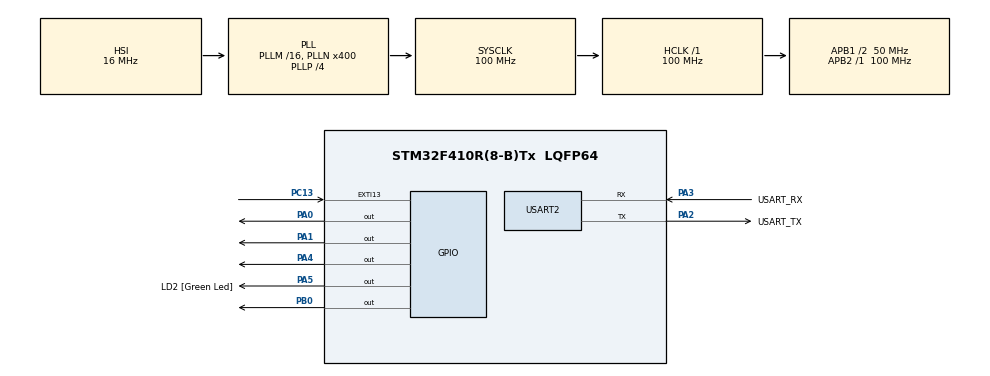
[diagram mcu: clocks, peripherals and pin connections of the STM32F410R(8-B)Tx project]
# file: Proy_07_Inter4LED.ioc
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Mcu.Family=STM32F4
Mcu.Name=STM32F410R(8-B)Tx
Mcu.Package=LQFP64
NVIC.EXTI15_10_IRQn=true\:0\:0\:false\:false\:true\:true\:true\:true
NVIC.PriorityGroup=NVIC_PRIORITYGROUP_0
PA0-WKUP.Signal=GPIO_Output
PA1.Signal=GPIO_Output
PA13.GPIO_Label=TMS
PA13.Mode=Serial_Wire
PA13.Signal=SYS_JTMS-SWDIO
PA14.GPIO_Label=TCK
PA14.Mode=Serial_Wire
PA14.Signal=SYS_JTCK-SWCLK
PA2.GPIO_Label=USART_TX
PA2.Mode=Asynchronous
PA2.Signal=USART2_TX
PA3.GPIO_Label=USART_RX
PA3.Mode=Asynchronous
PA3.Signal=USART2_RX
PA4.Signal=GPIO_Output
PA5.GPIO_Label=LD2 [Green Led]
PA5.Signal=GPIO_Output
PB0.Signal=GPIO_Output
PB3.GPIO_Label=SWO
PB3.Signal=SYS_JTDO-SWO
PC13-ANTI_TAMP.GPIO_ModeDefaultEXTI=GPIO_MODE_IT_FALLING
PC13-ANTI_TAMP.Signal=GPXTI13
PC14-OSC32_IN.Mode=LSE-External-Oscillator
PC14-OSC32_IN.Signal=RCC_OSC32_IN
PC15-OSC32_OUT.Mode=LSE-External-Oscillator
PC15-OSC32_OUT.Signal=RCC_OSC32_OUT
PH0\ -\ OSC_IN.Mode=HSE-External-Clock-Source
PH0\ -\ OSC_IN.Signal=RCC_OSC_IN
PH1\ -\ OSC_OUT.Mode=HSE-External-Clock-Source
PH1\ -\ OSC_OUT.Signal=RCC_OSC_OUT
ProjectManager.HeapSize=0x200
ProjectManager.StackSize=0x400
ProjectManager.TargetToolchain=STM32CubeIDE
RCC.48MHZClocksFreq_Value=100000000
RCC.AHBFreq_Value=100000000
RCC.APB1CLKDivider=RCC_HCLK_DIV2
RCC.APB1Freq_Value=50000000
RCC.APB1TimFreq_Value=100000000
RCC.APB2Freq_Value=100000000
RCC.APB2TimFreq_Value=100000000
RCC.CortexFreq_Value=100000000
RCC.FLatency-AdvancedSettings=FLASH_LATENCY_3
RCC.HCLKFreq_Value=100000000
RCC.HSE_VALUE=8000000
RCC.HSI_VALUE=16000000
RCC.PLLN=400
RCC.PLLP=RCC_PLLP_DIV4
RCC.SYSCLKFreq_VALUE=100000000
RCC.SYSCLKSource=RCC_SYSCLKSOURCE_PLLCLK
RCC.VCOOutputFreq_Value=400000000
USART2.VirtualMode=VM_ASYNC
board=NUCLEO-F410RB

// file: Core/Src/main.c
/* USER CODE BEGIN Header */
/**
  Practica 7 - Interrupcion externa a 4 leds

  Equipo:
  Antonio Yañez Hernandez
  Cristopher Rodrigues Perez
  Jesus Roberto Hernandez Benitez

  Pines Usados para Configurar:
  PIN_A0, PIN_A1, PIN_A4, PC13-EXIT13 Y PIN_B0

  Descripcion:
  Controla una secuencia de luces LED que van encendiendo y apagando en diferentes patrones
  o ritmos. Cada vez que presiono cierto botón, el sistema detecta esa pulsación mediante una
  interrupción y cambia a la siguiente rutina de luces
  ******************************************************************************
  */
/* USER CODE END Header */
#include "main.h"

UART_HandleTypeDef huart2;

void SystemClock_Config(void);
static void MX_GPIO_Init(void);
static void MX_USART2_UART_Init(void);

/* USER CODE BEGIN 0 */

uint16_t contInt;/*Para el conteo de interrupciones*/
uint16_t retardo; /*variable para los retardos*/
uint8_t funcion;  /*variable que controla la funcion actual*/
uint8_t i;     /*variable para for*/
uint16_t contadorCiclos;

/*Funciones para secuencia de leds*/
static const uint8_t estado0[4][4]={
		{1, 0, 0, 0},
		{0, 1, 0, 0},
		{0, 0, 1, 0},
		{0, 0, 0, 1},
};

static const uint8_t estado1[4][4]={
		{1, 0, 0, 0},
		{0, 0, 0, 1},
		{0, 0, 1, 0},
		{0, 1, 0, 0},
};

static const uint8_t estado2[8][4]={
		{1, 0, 0, 0},
		{1, 1, 0, 0},
		{0, 1, 0, 0},
		{0, 1, 1, 0},
		{0, 0, 1, 0},
		{0, 0, 1, 1},
		{0, 0, 0, 1},
};

static const uint8_t estado3[8][4]={
		{1, 0, 0, 0},
		{1, 0, 0, 1},
		{0, 0, 0, 1},
		{0, 0, 1, 1},
		{0, 0, 1, 0},
		{0, 1, 1, 0},
		{0, 1, 0, 0},
		{1, 1, 0, 0},
};

/* USER CODE END 0 */

int main(void)
{

  /* USER CODE BEGIN 1 */

	contInt =0;
	retardo =200;
	funcion=0;
	i=0;
	contadorCiclos=0;

  /* USER CODE END 1 */

  /* MCU Configuration--------------------------------------------------------*/

  /* Reset of all peripherals, Initializes the Flash interface and the Systick. */
  HAL_Init();

  /* Configure the system clock */
  SystemClock_Config();

  /* Initialize all configured peripherals */
  MX_GPIO_Init();
  MX_USART2_UART_Init();

  /* Infinite loop */
  /* USER CODE BEGIN WHILE */
  while (1)
  {

	  switch(funcion)
	  	  {
	  	  case 0:
	  		  for(i=0; i<4; i++)
	  		  {
	  			  HAL_GPIO_WritePin(GPIOA, GPIO_PIN_0, estado0[i][0]);
	  			  HAL_GPIO_WritePin(GPIOA, GPIO_PIN_1, estado0[i][1]);
	  			  HAL_GPIO_WritePin(GPIOA, GPIO_PIN_4, estado0[i][2]);
	  			  HAL_GPIO_WritePin(GPIOB, GPIO_PIN_0, estado0[i][3]);
	  			  HAL_Delay(retardo);
	  			  contadorCiclos++;
	  		  }
	  		  break;
	  	  case 1:
	  		  for(i=0; i<4; i++)
	  		  {
	  	          HAL_GPIO_WritePin(GPIOA, GPIO_PIN_0, estado1[i][0]);
	  		      HAL_GPIO_WritePin(GPIOA, GPIO_PIN_1, estado1[i][1]);
	  		  	  HAL_GPIO_WritePin(GPIOA, GPIO_PIN_4, estado1[i][2]);
	  		  	  HAL_GPIO_WritePin(GPIOB, GPIO_PIN_0, estado1[i][3]);
	  		  	  HAL_Delay(retardo);
	  		      contadorCiclos++;
	  		  }
	  		  break;
	  	  case 2:
	  		  for(i=0; i<8; i++)
	  		  {
	  			  HAL_GPIO_WritePin(GPIOA, GPIO_PIN_0, estado2[i][0]);
	  			  HAL_GPIO_WritePin(GPIOA, GPIO_PIN_1, estado2[i][1]);
	  			  HAL_GPIO_WritePin(GPIOA, GPIO_PIN_4, estado2[i][2]);
	  			  HAL_GPIO_WritePin(GPIOB, GPIO_PIN_0, estado2[i][3]);
	  			  HAL_Delay(retardo);
	  			  contadorCiclos++;
	  		  }
	  		  break;
	  	  case 3:
	  		  for(i=0; i<8; i++)
	  		  {
	  			  HAL_GPIO_WritePin(GPIOA, GPIO_PIN_0, estado3[i][0]);
	  			  HAL_GPIO_WritePin(GPIOA, GPIO_PIN_1, estado3[i][1]);
	  			  HAL_GPIO_WritePin(GPIOA, GPIO_PIN_4, estado3[i][2]);
	  			  HAL_GPIO_WritePin(GPIOB, GPIO_PIN_0, estado3[i][3]);
	  			  HAL_Delay(retardo);
	  			  contadorCiclos++;
	  		  }
	  		  break;
	  	  }

    /* USER CODE END WHILE */

  }
}

void HAL_GPIO_EXTI_Callback(uint16_t GPIO_Pin)
	{
		if(GPIO_Pin== GPIO_PIN_13)// Verifica la interrupción provenga del boton conectado al pin PC13
		{
			funcion++;

			if(funcion>=4)
			{
				funcion=0;
			}
			HAL_GPIO_TogglePin(GPIOA, GPIO_PIN_5);// Cambia el estado del LED conectado al pin PA5
			contInt++;// Incrementa el contador cada vez que se ejecuta la interrupcion
		}
	}

void SystemClock_Config(void)
{
  RCC_OscInitTypeDef RCC_OscInitStruct = {0};
  RCC_ClkInitTypeDef RCC_ClkInitStruct = {0};

  /** Configure the main internal regulator output voltage
  */
  __HAL_RCC_PWR_CLK_ENABLE();
  __HAL_PWR_VOLTAGESCALING_CONFIG(PWR_REGULATOR_VOLTAGE_SCALE1);

  /** Initializes the RCC Oscillators according to the specified parameters
  * in the RCC_OscInitTypeDef structure.
  */
  RCC_OscInitStruct.OscillatorType = RCC_OSCILLATORTYPE_HSI;
  RCC_OscInitStruct.HSIState = RCC_HSI_ON;
  RCC_OscInitStruct.HSICalibrationValue = RCC_HSICALIBRATION_DEFAULT;
  RCC_OscInitStruct.PLL.PLLState = RCC_PLL_ON;
  RCC_OscInitStruct.PLL.PLLSource = RCC_PLLSOURCE_HSI;
  RCC_OscInitStruct.PLL.PLLM = 16;
  RCC_OscInitStruct.PLL.PLLN = 400;
  RCC_OscInitStruct.PLL.PLLP = RCC_PLLP_DIV4;
  RCC_OscInitStruct.PLL.PLLQ = 4;
  RCC_OscInitStruct.PLL.PLLR = 2;
  if (HAL_RCC_OscConfig(&RCC_OscInitStruct) != HAL_OK)
  {
    Error_Handler();
  }

  /** Initializes the CPU, AHB and APB buses clocks
  */
  RCC_ClkInitStruct.ClockType = RCC_CLOCKTYPE_HCLK|RCC_CLOCKTYPE_SYSCLK
                              |RCC_CLOCKTYPE_PCLK1|RCC_CLOCKTYPE_PCLK2;
  RCC_ClkInitStruct.SYSCLKSource = RCC_SYSCLKSOURCE_PLLCLK;
  RCC_ClkInitStruct.AHBCLKDivider = RCC_SYSCLK_DIV1;
  RCC_ClkInitStruct.APB1CLKDivider = RCC_HCLK_DIV2;
  RCC_ClkInitStruct.APB2CLKDivider = RCC_HCLK_DIV1;

  if (HAL_RCC_ClockConfig(&RCC_ClkInitStruct, FLASH_LATENCY_3) != HAL_OK)
  {
    Error_Handler();
  }
}

static void MX_USART2_UART_Init(void)
{

  huart2.Instance = USART2;
  huart2.Init.BaudRate = 115200;
  huart2.Init.WordLength = UART_WORDLENGTH_8B;
  huart2.Init.StopBits = UART_STOPBITS_1;
  huart2.Init.Parity = UART_PARITY_NONE;
  huart2.Init.Mode = UART_MODE_TX_RX;
  huart2.Init.HwFlowCtl = UART_HWCONTROL_NONE;
  huart2.Init.OverSampling = UART_OVERSAMPLING_16;
  if (HAL_UART_Init(&huart2) != HAL_OK)
  {
    Error_Handler();
  }

}

static void MX_GPIO_Init(void)
{
  GPIO_InitTypeDef GPIO_InitStruct = {0};

  /* GPIO Ports Clock Enable */
  __HAL_RCC_GPIOC_CLK_ENABLE();
  __HAL_RCC_GPIOH_CLK_ENABLE();
  __HAL_RCC_GPIOA_CLK_ENABLE();
  __HAL_RCC_GPIOB_CLK_ENABLE();

  /*Configure GPIO pin Output Level */
  HAL_GPIO_WritePin(GPIOA, GPIO_PIN_0|GPIO_PIN_1|GPIO_PIN_4|LD2_Pin, GPIO_PIN_RESET);

  /*Configure GPIO pin Output Level */
  HAL_GPIO_WritePin(GPIOB, GPIO_PIN_0, GPIO_PIN_RESET);

  /*Configure GPIO pin : PC13 */
  GPIO_InitStruct.Pin = GPIO_PIN_13;
  GPIO_InitStruct.Mode = GPIO_MODE_IT_FALLING;
  GPIO_InitStruct.Pull = GPIO_NOPULL;
  HAL_GPIO_Init(GPIOC, &GPIO_InitStruct);

  /*Configure GPIO pins : PA0 PA1 PA4 LD2_Pin */
  GPIO_InitStruct.Pin = GPIO_PIN_0|GPIO_PIN_1|GPIO_PIN_4|LD2_Pin;
  GPIO_InitStruct.Mode = GPIO_MODE_OUTPUT_PP;
  GPIO_InitStruct.Pull = GPIO_NOPULL;
  GPIO_InitStruct.Speed = GPIO_SPEED_FREQ_LOW;
  HAL_GPIO_Init(GPIOA, &GPIO_InitStruct);

  /*Configure GPIO pin : PB0 */
  GPIO_InitStruct.Pin = GPIO_PIN_0;
  GPIO_InitStruct.Mode = GPIO_MODE_OUTPUT_PP;
  GPIO_InitStruct.Pull = GPIO_NOPULL;
  GPIO_InitStruct.Speed = GPIO_SPEED_FREQ_LOW;
  HAL_GPIO_Init(GPIOB, &GPIO_InitStruct);

  /* EXTI interrupt init*/
  HAL_NVIC_SetPriority(EXTI15_10_IRQn, 0, 0);
  HAL_NVIC_EnableIRQ(EXTI15_10_IRQn);

}

void Error_Handler(void)
{
  __disable_irq();
  while (1)
  {
  }
}
